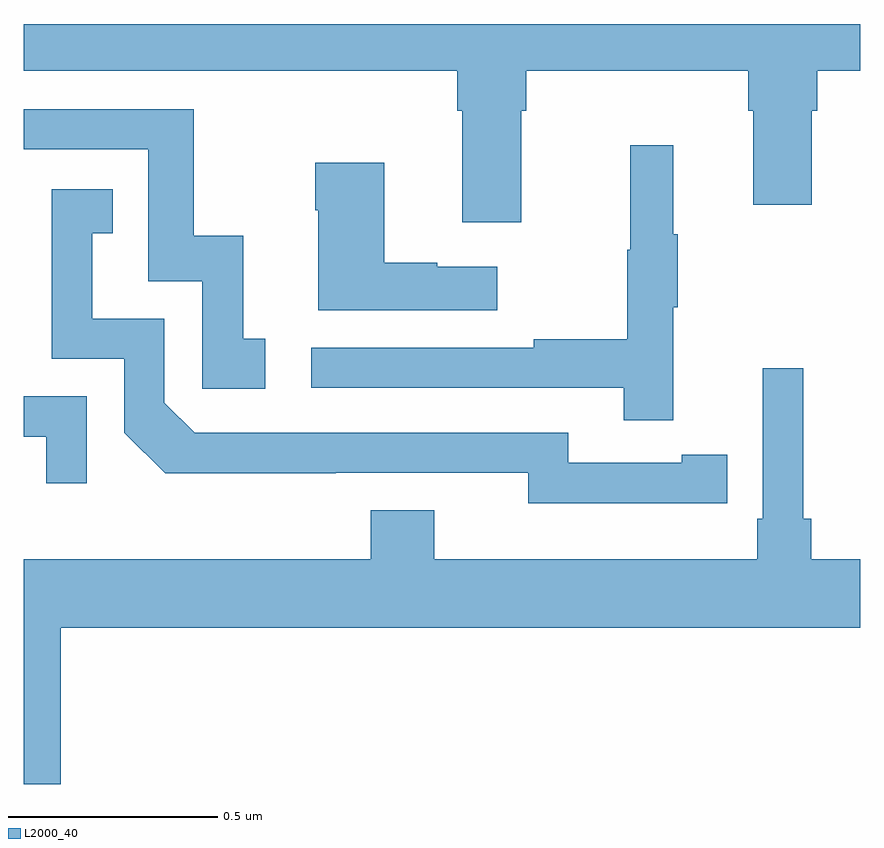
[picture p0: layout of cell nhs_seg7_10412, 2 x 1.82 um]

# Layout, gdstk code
import gdstk
lib = gdstk.Library(unit=1e-6, precision=1e-09)
def P(c, l, *ps):  # polygons
    for p in ps: c.add(gdstk.Polygon(p, *l))
L2000_40 = (2000, 40)

nhs_seg7_10412 = lib.new_cell('nhs_seg7_10412')
P(nhs_seg7_10412, L2000_40, [(250.189,1061.792),(250.202,1061.792),(250.202,1061.888),(250.733,1061.888),(250.733,1061.792),(250.745,1061.792),(250.745,1061.568),(250.885,1061.568),(250.885,1061.792),(250.898,1061.792),(250.898,1061.888),(251,1061.888),(251,1062),(249,1062),(249,1061.888),(250.037,1061.888),(250.037,1061.792),(250.049,1061.792),(250.049,1061.526),(250.189,1061.526)],
  [(249.577,1061.247),(249.524,1061.247),(249.524,1061.494),(249.406,1061.494),(249.406,1061.796),(249,1061.796),(249,1061.7),(249.297,1061.7),(249.297,1061.385),(249.426,1061.385),(249.426,1061.127),(249.577,1061.127)],
  [(250.553,1061.323),(250.564,1061.323),(250.564,1061.497),(250.553,1061.497),(250.553,1061.71),(250.45,1061.71),(250.45,1061.46),(250.443,1061.46),(250.443,1061.246),(250.219,1061.246),(250.219,1061.226),(249.687,1061.226),(249.687,1061.13),(250.435,1061.13),(250.435,1061.052),(250.553,1061.052)],
  [(250.132,1061.419),(249.989,1061.419),(249.989,1061.429),(249.862,1061.429),(249.862,1061.668),(249.697,1061.668),(249.697,1061.555),(249.704,1061.555),(249.704,1061.315),(250.132,1061.315)],
  [(250.574,1060.854),(250.682,1060.854),(250.682,1060.97),(250.574,1060.97),(250.574,1060.95),(250.302,1060.95),(250.302,1061.022),(249.408,1061.022),(249.336,1061.094),(249.336,1061.295),(249.163,1061.295),(249.163,1061.499),(249.212,1061.499),(249.212,1061.605),(249.066,1061.605),(249.066,1061.199),(249.24,1061.199),(249.24,1061.022),(249.338,1060.925),(249.746,1060.925),(249.746,1060.926),(250.206,1060.926),(250.206,1060.853),(250.574,1060.853)],
  [(249.088,1060.556),(251,1060.556),(251,1060.72),(250.883,1060.72),(250.883,1060.816),(250.864,1060.816),(250.864,1061.176),(250.767,1061.176),(250.767,1060.816),(250.754,1060.816),(250.754,1060.72),(249.982,1060.72),(249.982,1060.837),(249.83,1060.837),(249.83,1060.72),(249,1060.72),(249,1060.182),(249.088,1060.182)],
  [(249.15,1061.109),(249,1061.109),(249,1061.013),(249.053,1061.013),(249.053,1060.902),(249.15,1060.902)])

lib.write_gds('nhs_seg7_10412.gds')
